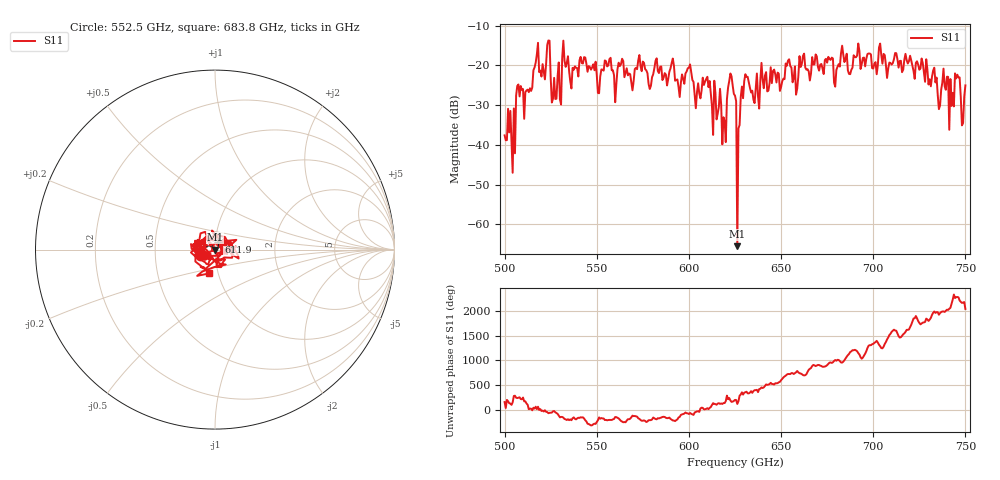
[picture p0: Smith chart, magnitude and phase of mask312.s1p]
!Created with skrf (http://scikit-rf.org).
# GHz S MA R 50.0
!freq magS11 angS11
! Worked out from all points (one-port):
!   401 points, 500 GHz to 750 GHz, reference 50 ohm
!   lowest |S11| = -65.4 dB at 626.2 GHz (marker M1), VSWR 1.00, Z = 50 + j0.0425 ohm
!   |S11| at or under -10 dB: start of sweep to end of sweep
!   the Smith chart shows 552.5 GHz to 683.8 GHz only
!   S11 on the Smith chart (normalised r, x): 552.5 GHz: 0.85, -0.06; 611.9 GHz: 1.03, +0.08; 683.8 GHz: 0.91, -0.25
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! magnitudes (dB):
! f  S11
! 500 GHz  -37.6
! 504.4 GHz  -47.0
! 507.5 GHz  -24.8
! 511.9 GHz  -26.3
! 516.9 GHz  -19.3
! 523.8 GHz  -13.7
! 526.9 GHz  -23.1
! 531.2 GHz  -18.1
! 552.5 GHz  -21.0
! 562.5 GHz  -20.2
! 590.6 GHz  -19.4
! 593.8 GHz  -23.5
! 600 GHz  -20.6
! 611.9 GHz  -27.0
! 619.4 GHz  -34.0
! 622.5 GHz  -22.0
! 624.4 GHz  -27.2
! 625 GHz  -27.6
! 626.2 GHz  -65.4
! 631.2 GHz  -22.9
! 635 GHz  -28.6
! 656.2 GHz  -24.3
! 683.8 GHz  -17.3
! 687.5 GHz  -22.2
! 718.8 GHz  -19.5
! 736.2 GHz  -30.1
! 745.6 GHz  -22.3
! 750 GHz  -25.0
